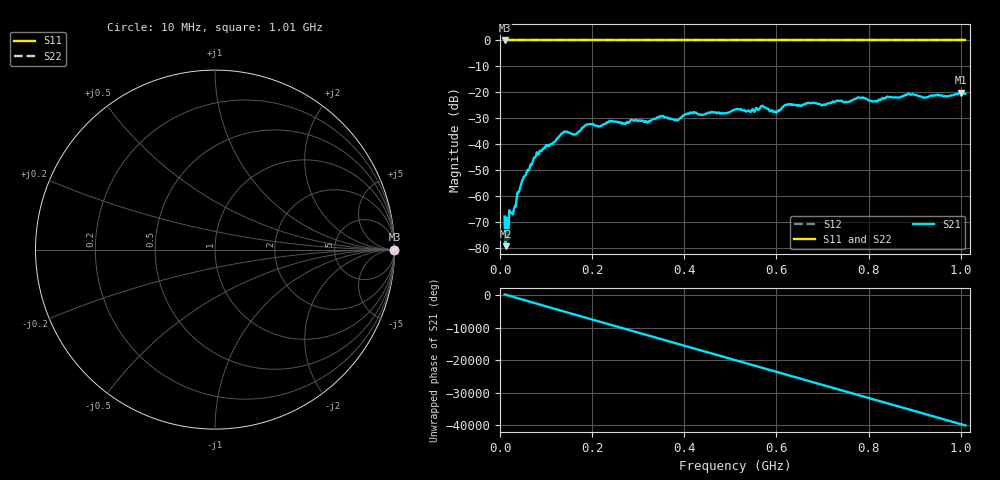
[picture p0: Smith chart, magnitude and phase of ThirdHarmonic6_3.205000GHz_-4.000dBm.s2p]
! 8/17/2025 9:44:30 AM
! C:\ANRITSUVNA\TEMP\TEMP.S2P
! CHANNEL.1
! TR.MEASUREMENT
! RAW.DATA
! RF.CORRECTION.OFF
! AVERAGING.OFF
! IF.BANDWIDTH: 5KHZ
! SWEEPTYPE:  FREQ.SWEEP(Linear)
! Reference Plane Port Info
! PORT:  PORT1  PORT2
! DISTANCE:  0  m  0  m
! TIME:  0  s  0  s
! PHASE.OFFSET:  0  deg.  0  deg.
! LOSS:  0  dB  0  dB
! REF.LOSS:  0  dB  0  dB
! REF.FREQ:  0  Hz  0  Hz
! Power Info
! POWER:  -20  dBm  -20  dBm
! EFF.POWER:  -20  dBm  -20  dBm
! SOURCE.ATTEN:  0  dB  0  dB
! TEST.ATTEN:  0  dB  0  dB
# GHZ S RI R 50.0
! FREQ.GHZ  S11RE  S11IM  S21RE  S21IM  S12RE  S12IM  S22RE  S22IM
!; PortSelection: Port_12
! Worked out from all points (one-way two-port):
!   501 points, 10 MHz to 1.01 GHz, reference 50 ohm
!   highest |S21| = -20.03 dB at 1 GHz (marker M1); lowest = -79.2 dB at 12 MHz (marker M2)
!   lowest |S11| = 0.0 dB at 10 MHz (marker M3)
!   |S11| at or under -10 dB: nowhere
!   |S22| runs from 0.0 to 0.0 dB; largest |S21 - S12| = 1.1
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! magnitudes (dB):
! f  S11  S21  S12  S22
! 10 MHz  0.0  -67.8  0.0  0.0
! 12 MHz  0.0  -79.2  0.0  0.0
! 16 MHz  0.0  -70.8  0.0  0.0
! 18 MHz  0.0  -76.6  0.0  0.0
! 32 MHz  0.0  -63.9  0.0  0.0
! 48 MHz  0.0  -54.0  0.0  0.0
! 78 MHz  0.0  -44.6  0.0  0.0
! 136 MHz  0.0  -35.8  0.0  0.0
! 162 MHz  0.0  -36.2  0.0  0.0
! 178 MHz  0.0  -33.7  0.0  0.0
! 344 MHz  0.0  -29.6  0.0  0.0
! 384 MHz  0.0  -30.7  0.0  0.0
! 416 MHz  0.0  -28.0  0.0  0.0
! 510 MHz  0.0  -26.6  0.0  0.0
! 570 MHz  0.0  -25.2  0.0  0.0
! 598 MHz  0.0  -27.5  0.0  0.0
! 622 MHz  0.0  -24.8  0.0  0.0
! 678 MHz  0.0  -24.0  0.0  0.0
! 814 MHz  0.0  -23.3  0.0  0.0
! 844 MHz  0.0  -21.8  0.0  0.0
! 1 GHz  0.0  -20.0  0.0  0.0
! 1.01 GHz  0.0  -20.5  0.0  0.0
